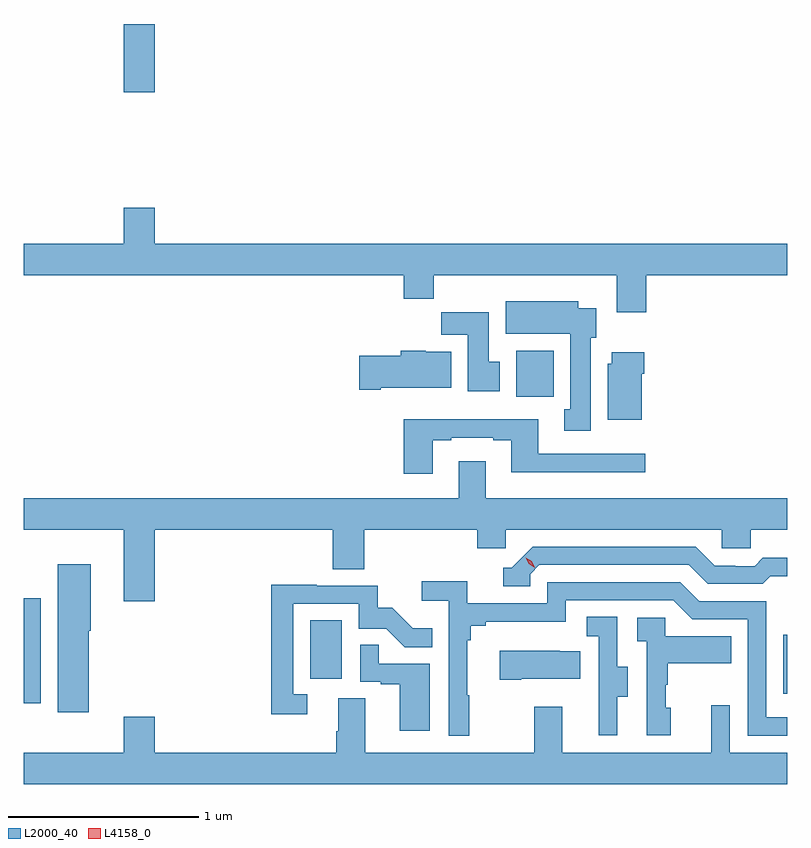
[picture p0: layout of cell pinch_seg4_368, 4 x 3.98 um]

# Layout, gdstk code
import gdstk
lib = gdstk.Library(unit=1e-6, precision=1e-09)
def R(c, l, rs):  # rectangles x0, y0, x1, y1
    for r in rs: c.add(gdstk.rectangle(r[:2], r[2:], *l))
def P(c, l, *ps):  # polygons
    for p in ps: c.add(gdstk.Polygon(p, *l))
L2000_40 = (2000, 40)
L4158_0 = (4158, 0)

pinch_seg4_368 = lib.new_cell('pinch_seg4_368')
R(pinch_seg4_368, L2000_40, [(943.704,769.27,943.794,769.822), (947.682,769.32,947.704,769.63), (945.206,769.398,945.37,769.705), (946.283,770.876,946.48,771.118), (944.228,772.47,944.392,772.828)])
P(pinch_seg4_368, L2000_40, [(946.964,771.512),(947.704,771.512),(947.704,771.676),(944.392,771.676),(944.392,771.865),(944.228,771.865),(944.228,771.676),(943.704,771.676),(943.704,771.512),(945.695,771.512),(945.695,771.388),(945.851,771.388),(945.851,771.512),(946.811,771.512),(946.811,771.318),(946.964,771.318)],
  [(946.675,771.186),(946.702,771.186),(946.702,771.34),(946.609,771.34),(946.609,771.376),(946.229,771.376),(946.229,771.206),(946.568,771.206),(946.568,770.81),(946.535,770.81),(946.535,770.697),(946.675,770.697)],
  [(946.198,771.06),(946.141,771.06),(946.141,771.318),(945.892,771.318),(945.892,771.2),(946.031,771.2),(946.031,770.904),(946.198,770.904)],
  [(945.574,770.924),(945.943,770.924),(945.943,771.112),(945.81,771.112),(945.81,771.118),(945.68,771.118),(945.68,771.09),(945.462,771.09),(945.462,770.912),(945.574,770.912)],
  [(946.942,770.996),(946.955,770.996),(946.955,771.109),(946.784,771.109),(946.784,771.048),(946.763,771.048),(946.763,770.756),(946.942,770.756)],
  [(945.847,770.649),(945.943,770.649),(945.943,770.661),(946.163,770.661),(946.163,770.649),(946.259,770.649),(946.259,770.48),(946.96,770.48),(946.96,770.577),(946.399,770.577),(946.399,770.758),(945.695,770.758),(945.695,770.472),(945.847,770.472)],
  [(944.392,770.18),(945.323,770.18),(945.323,769.972),(945.488,769.972),(945.488,770.18),(946.079,770.18),(946.079,770.082),(946.23,770.082),(946.23,770.18),(947.361,770.18),(947.361,770.082),(947.511,770.082),(947.511,770.18),(947.704,770.18),(947.704,770.344),(946.123,770.344),(946.123,770.539),(945.983,770.539),(945.983,770.344),(943.704,770.344),(943.704,770.18),(944.228,770.18),(944.228,769.806),(944.392,769.806)],
  [(946.356,769.947),(946.404,769.995),(947.187,769.995),(947.286,769.896),(947.575,769.896),(947.614,769.935),(947.704,769.935),(947.704,770.032),(947.575,770.032),(947.533,769.989),(947.43,769.989),(947.43,769.992),(947.323,769.992),(947.224,770.091),(946.371,770.091),(946.26,769.98),(946.217,769.98),(946.217,769.884),(946.356,769.884)],
  [(944.044,769.65),(944.056,769.65),(944.056,769.999),(943.883,769.999),(943.883,769.224),(944.044,769.224)],
  [(946.039,769.313),(946.027,769.313),(946.027,769.601),(946.046,769.601),(946.046,769.678),(946.123,769.678),(946.123,769.697),(946.542,769.697),(946.542,769.809),(947.106,769.809),(947.205,769.71),(947.496,769.71),(947.496,769.101),(947.704,769.101),(947.704,769.197),(947.592,769.197),(947.592,769.806),(947.242,769.806),(947.143,769.905),(946.446,769.905),(946.446,769.794),(946.028,769.794),(946.028,769.91),(945.789,769.91),(945.789,769.808),(945.93,769.808),(945.93,769.101),(946.039,769.101)],
  [(945.19,769.317),(945.117,769.317),(945.117,769.791),(945.459,769.791),(945.459,769.662),(945.603,769.662),(945.701,769.564),(945.845,769.564),(945.845,769.663),(945.741,769.663),(945.634,769.77),(945.558,769.77),(945.558,769.887),(945.239,769.887),(945.239,769.892),(945.001,769.892),(945.001,769.212),(945.19,769.212)],
  [(946.813,769.306),(946.867,769.306),(946.867,769.461),(946.812,769.461),(946.812,769.724),(946.653,769.724),(946.653,769.621),(946.716,769.621),(946.716,769.317),(946.715,769.317),(946.715,769.104),(946.813,769.104)],
  [(947.092,769.248),(947.067,769.248),(947.067,769.367),(947.077,769.367),(947.077,769.481),(947.411,769.481),(947.411,769.621),(947.064,769.621),(947.064,769.719),(946.917,769.719),(946.917,769.595),(946.968,769.595),(946.968,769.104),(947.092,769.104)],
  [(945.832,769.479),(945.563,769.479),(945.563,769.577),(945.468,769.577),(945.468,769.383),(945.575,769.383),(945.575,769.371),(945.674,769.371),(945.674,769.128),(945.832,769.128)],
  [(946.309,769.4),(946.619,769.4),(946.619,769.543),(946.511,769.543),(946.511,769.546),(946.197,769.546),(946.197,769.393),(946.309,769.393)],
  [(947.704,769.012),(947.403,769.012),(947.403,769.261),(947.306,769.261),(947.306,769.012),(946.525,769.012),(946.525,769.252),(946.378,769.252),(946.378,769.012),(945.493,769.012),(945.493,769.298),(945.353,769.298),(945.353,769.124),(945.341,769.124),(945.341,769.012),(944.392,769.012),(944.392,769.201),(944.228,769.201),(944.228,769.012),(943.704,769.012),(943.704,768.848),(947.704,768.848)])
P(pinch_seg4_368, L4158_0, [(946.38,769.981),(946.349,770.001),(946.333,770.033),(946.333,770.034),(946.334,770.034),(946.364,770.014),(946.381,769.982),(946.381,769.981)])

lib.write_gds('pinch_seg4_368.gds')
